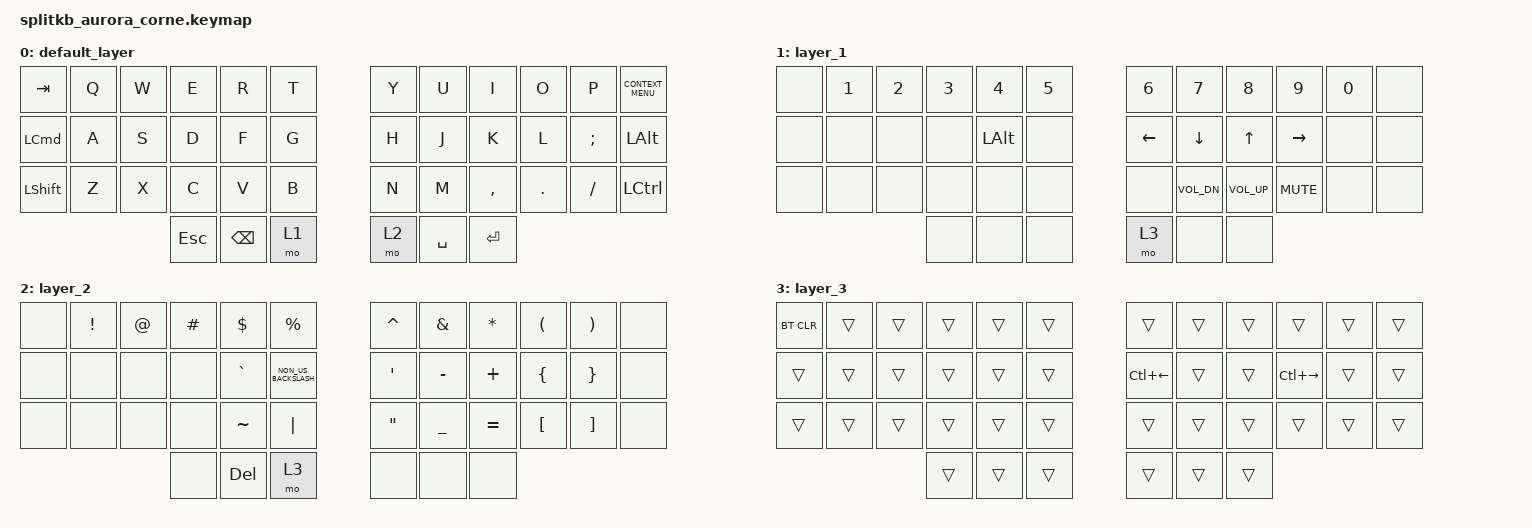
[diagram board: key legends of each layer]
/*
 * Copyright (c) 2020 The ZMK Contributors
 *
 * SPDX-License-Identifier: MIT
 */

#include <behaviors.dtsi>
#include <dt-bindings/zmk/bt.h>
#include <dt-bindings/zmk/keys.h>

&sys_reset {
};

/ {
    combos { compatible = "zmk,combos"; };

    keymap {
        compatible = "zmk,keymap";

        default_layer {
            // -----------------------------------------------------------------------------------------
            // |  TAB |  Q  |  W  |  E  |  R  |  T  |   |  Y  |  U   |  I  |  O  |  P  | BKSP |
            // | CTRL |  A  |  S  |  D  |  F  |  G  |   |  H  |  J   |  K  |  L  |  ;  |  '   |
            // | SHFT |  Z  |  X  |  C  |  V  |  B  |   |  N  |  M   |  ,  |  .  |  /  | ESC  |
            //                    | GUI | LWR | SPC |   | ENT | RSE  | ALT |

            bindings = <
&kp TAB           &kp Q  &kp W  &kp E       &kp R          &kp T    &kp Y  &kp U      &kp I      &kp O    &kp P          &kp K_CONTEXT_MENU
&kp LEFT_COMMAND  &kp A  &kp S  &kp D       &kp F          &kp G    &kp H  &kp J      &kp K      &kp L    &kp SEMICOLON  &kp LEFT_ALT
&kp LEFT_SHIFT    &kp Z  &kp X  &kp C       &kp V          &kp B    &kp N  &kp M      &kp COMMA  &kp DOT  &kp FSLH       &kp LEFT_CONTROL
                                &kp ESCAPE  &kp BACKSPACE  &mo 1    &mo 2  &kp SPACE  &kp ENTER
            >;
        };

        layer_1 {
            bindings = <
&none  &kp N1  &kp N2  &kp N3  &kp N4        &kp N5    &kp N6    &kp N7        &kp N8           &kp N9      &kp N0  &none
&none  &none   &none   &none   &kp LEFT_ALT  &none     &kp LEFT  &kp DOWN      &kp UP_ARROW     &kp RIGHT   &none   &none
&none  &none   &none   &none   &none         &none     &none     &kp C_VOL_DN  &kp C_VOLUME_UP  &kp C_MUTE  &none   &none
                       &none   &none         &none     &mo 3     &none         &none
            >;
        };

        layer_2 {
            bindings = <
&none  &kp EXCLAMATION  &kp AT_SIGN  &kp HASH  &kp DOLLAR  &kp PERCENT             &kp CARET          &kp AMPERSAND   &kp ASTERISK  &kp LEFT_PARENTHESIS  &kp RIGHT_PARENTHESIS  &none
&none  &none            &none        &none     &kp GRAVE   &kp NON_US_BACKSLASH    &kp SQT            &kp MINUS       &kp PLUS      &kp LEFT_BRACE        &kp RIGHT_BRACE        &none
&none  &none            &none        &none     &kp TILDE   &kp PIPE                &kp DOUBLE_QUOTES  &kp UNDERSCORE  &kp EQUAL     &kp LEFT_BRACKET      &kp RBKT               &none
                                     &none     &kp DELETE  &mo 3                   &none              &none           &none
            >;
        };

        layer_3 {
            bindings = <
&bt BT_CLR  &trans  &trans  &trans  &trans  &trans    &trans        &trans  &trans  &trans         &trans  &trans
&trans      &trans  &trans  &trans  &trans  &trans    &kp LC(LEFT)  &trans  &trans  &kp LC(RIGHT)  &trans  &trans
&trans      &trans  &trans  &trans  &trans  &trans    &trans        &trans  &trans  &trans         &trans  &trans
                            &trans  &trans  &trans    &trans        &trans  &trans
            >;
        };
    };
};
